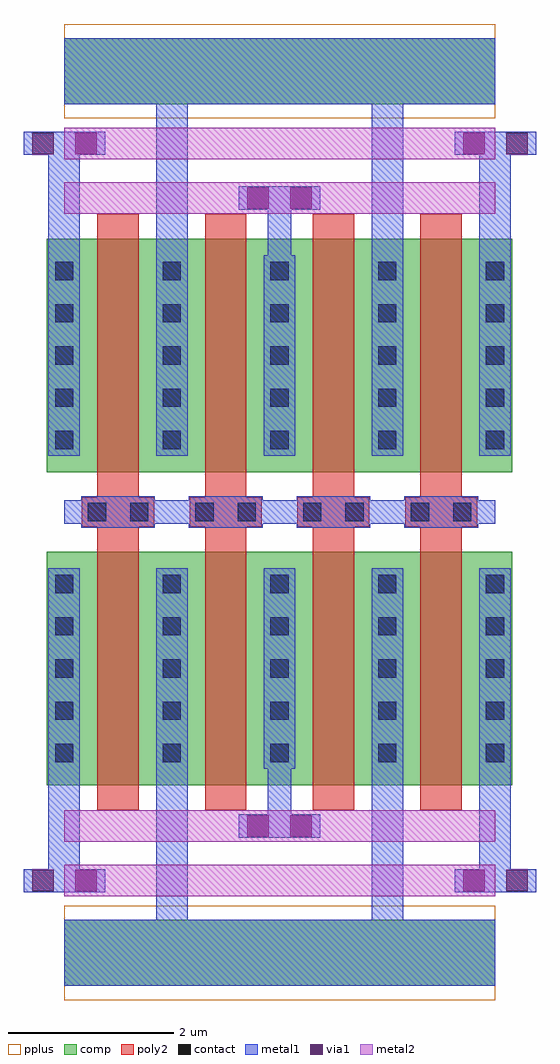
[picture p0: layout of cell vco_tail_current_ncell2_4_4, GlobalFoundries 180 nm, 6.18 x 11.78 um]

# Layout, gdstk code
import gdstk
lib = gdstk.Library(unit=1e-6, precision=5e-09)
def R(c, l, rs):  # rectangles x0, y0, x1, y1
    for r in rs: c.add(gdstk.rectangle(r[:2], r[2:], *l))
def A(c, l, x, y, w, h, nx, ny, dx, dy):  # array of equal rectangles
    R(c, l, [(x+i*dx, y+j*dy, x+i*dx+w, y+j*dy+h) for i in range(nx) for j in range(ny)])
comp = (22, 0)
poly2 = (30, 0)
pplus = (31, 0)
contact = (33, 0)
metal1 = (34, 0)
via1 = (35, 0)
metal2 = (36, 0)

vco_tail_current_ncell2_ = lib.new_cell('vco_tail_current_ncell2_1$1')
R(vco_tail_current_ncell2_, comp, [(0,0.3,0.42,3.12), (0.42,0.3,1.3,3.12), (1.3,0.3,1.72,3.12)])
R(vco_tail_current_ncell2_, poly2, [(0.61,0,1.11,3.42)])
A(vco_tail_current_ncell2_, contact, 0.1, 0.58, 0.22, 0.22, 1, 5, 0, 0.51)
A(vco_tail_current_ncell2_, contact, 1.4, 0.58, 0.22, 0.22, 1, 5, 0, 0.51)
R(vco_tail_current_ncell2_, metal1, [(0.02,0.5,0.4,2.92), (1.32,0.5,1.7,2.92)])

c_vco_tail_current_ncell2_ = lib.new_cell('vco_tail_current_ncell2_4')
A(c_vco_tail_current_ncell2_, poly2, 0.425, 3.42, 0.87, 0.36, 4, 1, 1.3, 0)
R(c_vco_tail_current_ncell2_, contact, [(0.495,3.49,0.715,3.71), (1.005,3.49,1.225,3.71), (1.795,3.49,2.015,3.71), (2.305,3.49,2.525,3.71), (3.095,3.49,3.315,3.71), (3.605,3.49,3.825,3.71), (4.395,3.49,4.615,3.71), (4.905,3.49,5.125,3.71)])
A(c_vco_tail_current_ncell2_, metal1, 0.415, 3.41, 0.89, 0.38, 4, 1, 1.3, 0)
c_vco_tail_current_ncell2_.add(gdstk.Reference(vco_tail_current_ncell2_, (0,0)))
c_vco_tail_current_ncell2_.add(gdstk.Reference(vco_tail_current_ncell2_, (1.3,0)))
c_vco_tail_current_ncell2_.add(gdstk.Reference(vco_tail_current_ncell2_, (2.6,0)))
c_vco_tail_current_ncell2_.add(gdstk.Reference(vco_tail_current_ncell2_, (3.9,0)))

c_vco_tail_current_ncell2__ = lib.new_cell('vco_tail_current_ncell2_4_4')
R(c_vco_tail_current_ncell2__, via1, [(0.095,1.31,0.355,1.57), (0.615,1.31,0.875,1.57), (5.295,1.31,5.555,1.57), (5.815,1.31,6.075,1.57), (2.69,1.97,2.95,2.23), (3.21,1.97,3.47,2.23), (2.69,9.55,2.95,9.81), (3.21,9.55,3.47,9.81), (0.095,10.21,0.355,10.47), (0.615,10.21,0.875,10.47), (5.295,10.21,5.555,10.47), (5.815,10.21,6.075,10.47)])
c_vco_tail_current_ncell2__.add(gdstk.FlexPath([(0.48,8.99),(0.48,10.2)], 0.38, ends="flush", simple_path=True, layer=34, datatype=0))  # metal1
c_vco_tail_current_ncell2__.add(gdstk.FlexPath([(-0.005,10.34),(0.975,10.34)], 0.28, ends="flush", simple_path=True, layer=34, datatype=0))  # metal1
c_vco_tail_current_ncell2__.add(gdstk.FlexPath([(1.78,10.81),(1.78,8.99)], 0.38, ends="flush", simple_path=True, layer=34, datatype=0))  # metal1
c_vco_tail_current_ncell2__.add(gdstk.FlexPath([(2.59,9.68),(3.57,9.68)], 0.28, ends="flush", simple_path=True, layer=34, datatype=0))  # metal1
c_vco_tail_current_ncell2__.add(gdstk.FlexPath([(3.08,8.99),(3.08,9.54)], 0.28, ends="flush", simple_path=True, layer=34, datatype=0))  # metal1
c_vco_tail_current_ncell2__.add(gdstk.FlexPath([(4.38,10.81),(4.38,8.99)], 0.38, ends="flush", simple_path=True, layer=34, datatype=0))  # metal1
c_vco_tail_current_ncell2__.add(gdstk.FlexPath([(5.68,8.99),(5.68,10.2)], 0.38, ends="flush", simple_path=True, layer=34, datatype=0))  # metal1
c_vco_tail_current_ncell2__.add(gdstk.FlexPath([(5.195,10.34),(6.175,10.34)], 0.28, ends="flush", simple_path=True, layer=34, datatype=0))  # metal1
c_vco_tail_current_ncell2__.add(gdstk.FlexPath([(0.48,11.21),(5.68,11.21)], 0.8, ends="flush", simple_path=True, layer=34, datatype=0))  # metal1
c_vco_tail_current_ncell2__.add(gdstk.FlexPath([(0.48,2.79),(0.48,1.58)], 0.38, ends="flush", simple_path=True, layer=34, datatype=0))  # metal1
c_vco_tail_current_ncell2__.add(gdstk.FlexPath([(-0.005,1.44),(0.975,1.44)], 0.28, ends="flush", simple_path=True, layer=34, datatype=0))  # metal1
c_vco_tail_current_ncell2__.add(gdstk.FlexPath([(1.78,0.97),(1.78,2.79)], 0.38, ends="flush", simple_path=True, layer=34, datatype=0))  # metal1
c_vco_tail_current_ncell2__.add(gdstk.FlexPath([(2.59,2.1),(3.57,2.1)], 0.28, ends="flush", simple_path=True, layer=34, datatype=0))  # metal1
c_vco_tail_current_ncell2__.add(gdstk.FlexPath([(3.08,2.79),(3.08,2.24)], 0.28, ends="flush", simple_path=True, layer=34, datatype=0))  # metal1
c_vco_tail_current_ncell2__.add(gdstk.FlexPath([(4.38,0.97),(4.38,2.79)], 0.38, ends="flush", simple_path=True, layer=34, datatype=0))  # metal1
c_vco_tail_current_ncell2__.add(gdstk.FlexPath([(5.68,2.79),(5.68,1.58)], 0.38, ends="flush", simple_path=True, layer=34, datatype=0))  # metal1
c_vco_tail_current_ncell2__.add(gdstk.FlexPath([(5.195,1.44),(6.175,1.44)], 0.28, ends="flush", simple_path=True, layer=34, datatype=0))  # metal1
c_vco_tail_current_ncell2__.add(gdstk.FlexPath([(0.48,0.57),(5.68,0.57)], 0.8, ends="flush", simple_path=True, layer=34, datatype=0))  # metal1
c_vco_tail_current_ncell2__.add(gdstk.FlexPath([(5.68,5.89),(0.48,5.89)], 0.28, ends="flush", simple_path=True, layer=34, datatype=0))  # metal1
c_vco_tail_current_ncell2__.add(gdstk.FlexPath([(0.48,11.21),(5.68,11.21)], 0.8, ends="flush", simple_path=True, layer=22, datatype=0))  # comp
c_vco_tail_current_ncell2__.add(gdstk.FlexPath([(0.48,0.57),(5.68,0.57)], 0.8, ends="flush", simple_path=True, layer=22, datatype=0))  # comp
c_vco_tail_current_ncell2__.add(gdstk.FlexPath([(0.48,10.34),(5.68,10.34)], 0.38, ends="flush", simple_path=True, layer=36, datatype=0))  # metal2
c_vco_tail_current_ncell2__.add(gdstk.FlexPath([(0.48,9.68),(5.68,9.68)], 0.38, ends="flush", simple_path=True, layer=36, datatype=0))  # metal2
c_vco_tail_current_ncell2__.add(gdstk.FlexPath([(0.48,1.44),(5.68,1.44)], 0.38, ends="flush", simple_path=True, layer=36, datatype=0))  # metal2
c_vco_tail_current_ncell2__.add(gdstk.FlexPath([(0.48,2.1),(5.68,2.1)], 0.38, ends="flush", simple_path=True, layer=36, datatype=0))  # metal2
c_vco_tail_current_ncell2__.add(gdstk.FlexPath([(0.48,11.21),(5.68,11.21)], 1.14, ends="flush", simple_path=True, layer=31, datatype=0))  # pplus
c_vco_tail_current_ncell2__.add(gdstk.FlexPath([(0.48,0.57),(5.68,0.57)], 1.14, ends="flush", simple_path=True, layer=31, datatype=0))  # pplus
c_vco_tail_current_ncell2__.add(gdstk.Reference(c_vco_tail_current_ncell2_, (0.27,2.29)))
c_vco_tail_current_ncell2__.add(gdstk.Reference(c_vco_tail_current_ncell2_, (0.27,9.49), x_reflection=True))

lib.write_gds('vco_tail_current_ncell2_4_4.gds')
